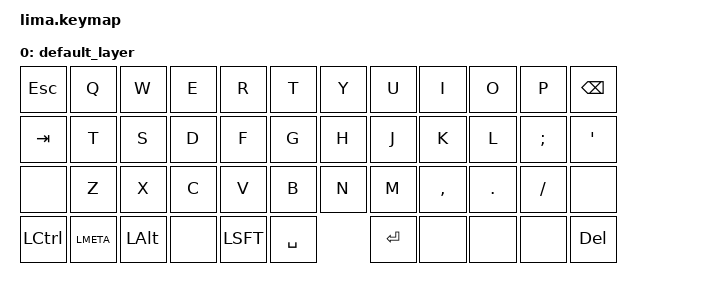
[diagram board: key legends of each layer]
// This file was generated from a template. Edit it to match your keyboard.
// See https://zmk.dev/docs/development/hardware-integration/new-shield for more instructions.

#include <behaviors.dtsi>
#include <dt-bindings/zmk/keys.h>

/ {
    // Define a default keymap here.
    // See https://zmk.dev/docs/development/hardware-integration/new-shield#default-keymap.
    keymap {
        compatible = "zmk,keymap";

        default_layer {
            bindings = <
                &kp ESC   &kp Q     &kp W    &kp E &kp R    &kp T     &kp Y     &kp U     &kp I     &kp O   &kp P      &kp BSPC
                &kp TAB   &kp T     &kp S    &kp D &kp F    &kp G     &kp H     &kp J     &kp K     &kp L   &kp SEMI   &kp APOS
                &none     &kp Z     &kp X    &kp C &kp V    &kp B     &kp N     &kp M     &kp COMMA &kp DOT &kp SLASH  &none
                &kp LCTRL &kp LMETA &kp LALT &none &kp LSFT &kp SPACE           &kp ENTER &none     &none   &none      &kp DEL
            >;
        };
    };
};
